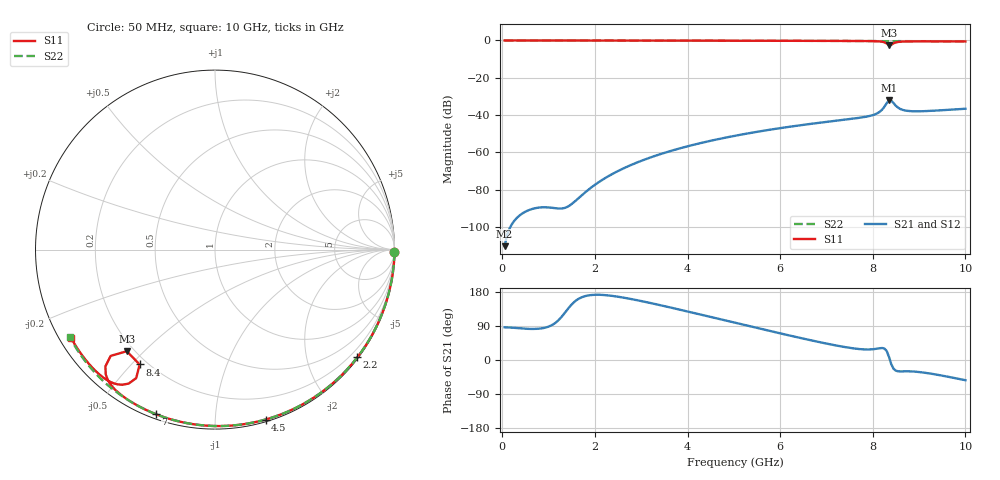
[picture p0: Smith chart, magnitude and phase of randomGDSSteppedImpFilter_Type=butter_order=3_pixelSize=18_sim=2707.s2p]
! freq	dB(S11)	phase(S11)	dB(S12)	phase(S12)
!  dB(S21)	phase(S21)	dB(S22)	phase(S22)
!S-par simulation data
#  GHz  S  DB  R 50
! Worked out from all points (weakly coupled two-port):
!   200 points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, 50 MHz to 10 GHz, reference 50 ohm
!   highest |S21| = -32.02 dB at 8.35 GHz (marker M1); lowest = -110.2 dB at 50 MHz (marker M2)
!   lowest |S11| = -2.5 dB at 8.35 GHz (marker M3), VSWR 6.99, Z = 8.61 - j22.2 ohm
!   |S11| at or under -10 dB: nowhere
!   |S22| runs from -0.5 to 0.0 dB; largest |S21 - S12| = 0
!   S11 on the Smith chart (normalised r, x): 50 MHz: open; 2.2 GHz: 0.03, -2.98; 4.5 GHz: 0.02, -1.34; 7 GHz: 0.02, -0.70; 8.4 GHz: 0.17, -0.53; 10 GHz: 0.03, -0.28
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0.05  -0.00 -0.9  -110.18 86.2  -110.18 86.2  -0.00 -0.9
0.9  -0.02 -15.4  -89.35 84.6  -89.35 84.6  -0.02 -15.5
1.75  -0.04 -29.7  -82.20 167.0  -82.20 167.0  -0.04 -29.8
1.85  -0.04 -31.4  -80.13 170.2  -80.13 170.2  -0.04 -31.4
2.2  -0.05 -37.1  -74.04 171.4  -74.04 171.4  -0.05 -37.2
2.75  -0.06 -46.1  -67.02 161.6  -67.02 161.6  -0.06 -46.2
3.4  -0.07 -56.4  -60.99 145.0  -60.99 145.0  -0.08 -56.5
4.5  -0.11 -73.4  -53.73 113.6  -53.73 113.6  -0.11 -73.4
5.05  -0.13 -81.6  -50.93 97.6  -50.93 97.6  -0.13 -81.6
6.7  -0.21 -105.4  -44.55 51.1  -44.55 51.1  -0.20 -104.9
7  -0.23 -109.7  -43.61 43.3  -43.61 43.3  -0.22 -109.0
8  -0.37 -125.6  -40.00 28.3  -40.00 28.3  -0.30 -122.5
8.15  -0.54 -129.5  -38.21 31.1  -38.21 31.1  -0.31 -124.4
8.25  -0.99 -133.2  -35.56 30.4  -35.56 30.4  -0.32 -125.8
8.3  -1.62 -134.5  -33.61 23.9  -33.61 23.9  -0.32 -126.4
8.35  -2.50 -131.0  -32.02 8.3  -32.02 8.3  -0.33 -127.0
8.4  -2.32 -123.3  -32.19 -11.2  -32.19 -11.2  -0.32 -127.7
8.5  -1.03 -122.8  -35.04 -28.4  -35.04 -28.4  -0.33 -129.1
8.6  -0.66 -125.9  -36.76 -30.1  -36.76 -30.1  -0.34 -130.4
8.75  -0.51 -129.4  -37.72 -29.8  -37.72 -29.8  -0.36 -132.4
9.1  -0.46 -135.5  -37.88 -33.2  -37.88 -33.2  -0.40 -137.0
10  -0.53 -148.5  -36.57 -53.4  -36.57 -53.4  -0.50 -148.9
